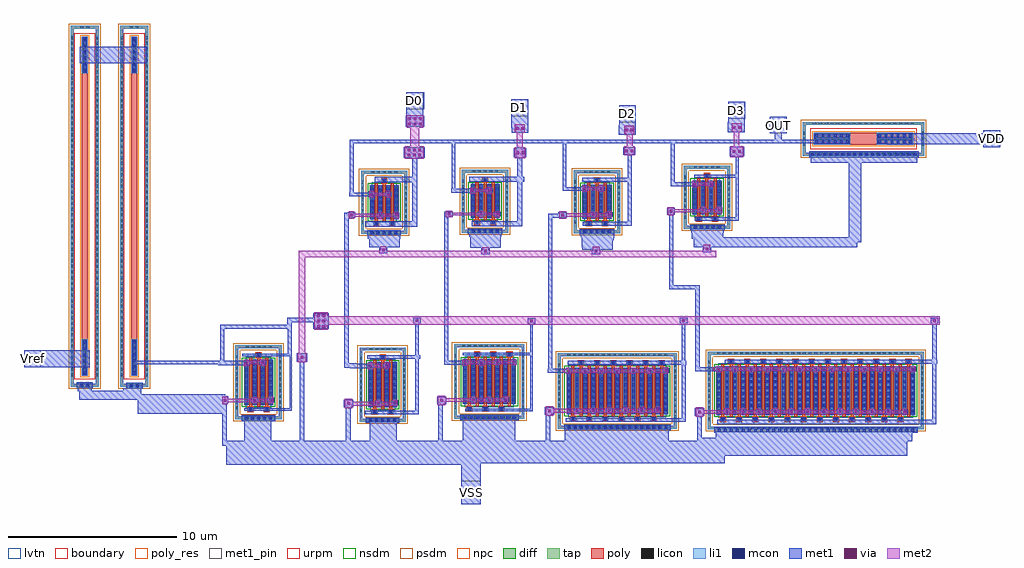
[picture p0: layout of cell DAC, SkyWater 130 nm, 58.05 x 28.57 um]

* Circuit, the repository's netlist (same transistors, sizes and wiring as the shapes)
** sch_path: /home/ttuser/tt10-DAC-main/xschem/DAC.sch
.subckt DAC D3 D2 D0 D1 Vref OUT VDD VSS
*.PININFO D0:I D1:I D2:I D3:I Vref:B OUT:O VDD:B VSS:B
XR3 net5 Vref VSS sky130_fd_pr__res_xhigh_po_0p35 L=16 mult=1 m=1
XR4 G net5 VSS sky130_fd_pr__res_xhigh_po_0p35 L=16 mult=1 m=1
XR5 VDD OUT VSS sky130_fd_pr__res_xhigh_po_0p69 L=1.75 mult=1 m=1
XM6 OUT D0 net4 VSS sky130_fd_pr__nfet_01v8_lvt L=0.18 W=6 nf=3 m=1
XM1 OUT D1 net1 VSS sky130_fd_pr__nfet_01v8_lvt L=0.18 W=6 nf=3 m=1
XM2 OUT D2 net2 VSS sky130_fd_pr__nfet_01v8_lvt L=0.18 W=6 nf=3 m=1
XM3 OUT D3 net3 VSS sky130_fd_pr__nfet_01v8_lvt L=0.18 W=6 nf=3 m=1
XM4 G G VSS VSS sky130_fd_pr__nfet_01v8_lvt L=0.18 W=8 nf=3 m=1
XM5 net4 G VSS VSS sky130_fd_pr__nfet_01v8_lvt L=0.18 W=8 nf=3 m=1
XM7 net1 G VSS VSS sky130_fd_pr__nfet_01v8_lvt L=0.18 W=16 nf=6 m=1
XM8 net2 G VSS VSS sky130_fd_pr__nfet_01v8_lvt L=0.18 W=33 nf=12 m=1
XM9 net3 G VSS VSS sky130_fd_pr__nfet_01v8_lvt L=0.18 W=69 nf=24 m=1
.ends
.end

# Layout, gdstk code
from math import pi, radians
import gdstk
lib = gdstk.Library(unit=1e-6, precision=1e-09)
def R(c, l, rs):  # rectangles x0, y0, x1, y1
    for r in rs: c.add(gdstk.rectangle(r[:2], r[2:], *l))
def A(c, l, x, y, w, h, nx, ny, dx, dy):  # array of equal rectangles
    R(c, l, [(x+i*dx, y+j*dy, x+i*dx+w, y+j*dy+h) for i in range(nx) for j in range(ny)])
diff = (65, 20)
tap = (65, 44)
poly_res = (66, 13)
poly = (66, 20)
licon = (66, 44)
li1 = (67, 20)
mcon = (67, 44)
met1_pin = (68, 16)
met1 = (68, 20)
via = (68, 44)
met2 = (69, 20)
urpm = (79, 20)
nsdm = (93, 44)
psdm = (94, 20)
npc = (95, 20)
lvtn = (125, 44)
boundary = (235, 4)

sky130_fd_pr__nfet_01v8_ = lib.new_cell('sky130_fd_pr__nfet_01v8_lvt_HFZZWY')
R(sky130_fd_pr__nfet_01v8_, diff, [(-0.865,-1.335,0.865,1.335)])
R(sky130_fd_pr__nfet_01v8_, tap, [(-1.375,-2.205,1.375,-2.035), (-1.375,-2.035,-1.205,2.035), (1.205,-2.035,1.375,2.035), (-1.375,2.035,1.375,2.205)])
R(sky130_fd_pr__nfet_01v8_, poly, [(-0.645,-1.775,-0.315,-1.445), (0.315,-1.775,0.645,-1.445), (-0.09,-1.465,0.09,1.445), (-0.57,-1.445,-0.39,1.465), (0.39,-1.445,0.57,1.465), (-0.165,1.445,0.165,1.775)])
A(sky130_fd_pr__nfet_01v8_, licon, -0.765, -2.205, 0.17, 0.17, 5, 2, 0.34, 4.24)
A(sky130_fd_pr__nfet_01v8_, licon, -1.375, -1.615, 0.17, 0.17, 1, 10, 0, 0.34)
A(sky130_fd_pr__nfet_01v8_, licon, 1.205, -1.615, 0.17, 0.17, 1, 10, 0, 0.34)
A(sky130_fd_pr__nfet_01v8_, licon, -0.805, -1.275, 0.17, 0.17, 4, 8, 0.48, 0.34)
R(sky130_fd_pr__nfet_01v8_, licon, [(-0.565,-1.695,-0.395,-1.525), (0.395,-1.695,0.565,-1.525), (-0.085,1.525,0.085,1.695)])
A(sky130_fd_pr__nfet_01v8_, li1, -0.805, -1.355, 0.17, 2.71, 4, 1, 0.48, 0)
R(sky130_fd_pr__nfet_01v8_, li1, [(-1.375,-2.205,1.375,-2.035), (-1.375,-2.035,-1.205,2.035), (1.205,-2.035,1.375,2.035), (-0.645,-1.695,-0.315,-1.525), (0.315,-1.695,0.645,-1.525), (-0.165,1.525,0.165,1.695), (-1.375,2.035,1.375,2.205)])
A(sky130_fd_pr__nfet_01v8_, mcon, -0.805, -1.165, 0.17, 0.17, 4, 7, 0.48, 0.36)
R(sky130_fd_pr__nfet_01v8_, mcon, [(-0.565,-1.695,-0.395,-1.525), (0.395,-1.695,0.565,-1.525), (-0.085,1.525,0.085,1.695)])
A(sky130_fd_pr__nfet_01v8_, met1, -0.835, -1.335, 0.23, 2.67, 4, 1, 0.48, 0)
R(sky130_fd_pr__nfet_01v8_, met1, [(-0.625,-1.725,-0.335,-1.495), (0.335,-1.725,0.625,-1.495), (-0.145,1.495,0.145,1.725)])
R(sky130_fd_pr__nfet_01v8_, nsdm, [(-0.99,-1.46,0.99,1.46)])
R(sky130_fd_pr__nfet_01v8_, psdm, [(-1.5,-2.33,1.5,-1.91), (-1.5,-1.91,-1.08,1.91), (1.08,-1.91,1.5,1.91), (-1.5,1.91,1.5,2.33)])
R(sky130_fd_pr__nfet_01v8_, npc, [(-0.665,-1.795,-0.295,-1.425), (0.295,-1.795,0.665,-1.425), (-0.185,1.425,0.185,1.795)])
R(sky130_fd_pr__nfet_01v8_, lvtn, [(-0.75,-1.515,0.75,1.515)])
R(sky130_fd_pr__nfet_01v8_, boundary, [(-1.29,-2.12,1.29,2.12)])

sky130_fd_pr__res_xhigh_ = lib.new_cell('sky130_fd_pr__res_xhigh_po_0p35_48NHYL')
R(sky130_fd_pr__res_xhigh_, tap, [(-0.825,-10.73,0.825,-10.56), (-0.825,-10.56,-0.655,10.56), (0.655,-10.56,0.825,10.56), (-0.825,10.56,0.825,10.73)])
R(sky130_fd_pr__res_xhigh_, poly_res, [(-0.175,-8,0.175,8)])
R(sky130_fd_pr__res_xhigh_, poly, [(-0.175,-10.08,0.175,10.08)])
A(sky130_fd_pr__res_xhigh_, licon, -0.825, -10.115, 0.17, 0.17, 1, 60, 0, 0.34)
A(sky130_fd_pr__res_xhigh_, licon, 0.655, -10.115, 0.17, 0.17, 1, 60, 0, 0.34)
R(sky130_fd_pr__res_xhigh_, licon, [(-0.255,-10.73,-0.085,-10.56), (0.085,-10.73,0.255,-10.56), (-0.095,-10,0.095,-8), (-0.095,8,0.095,10), (-0.255,10.56,-0.085,10.73), (0.085,10.56,0.255,10.73)])
R(sky130_fd_pr__res_xhigh_, li1, [(-0.825,-10.73,0.825,-10.56), (-0.825,-10.56,-0.655,10.56), (0.655,-10.56,0.825,10.56), (-0.175,-10.08,0.175,-7.92), (-0.175,7.92,0.175,10.08), (-0.825,10.56,0.825,10.73)])
A(sky130_fd_pr__res_xhigh_, mcon, -0.085, -9.985, 0.17, 0.17, 1, 6, 0, 0.36)
A(sky130_fd_pr__res_xhigh_, mcon, -0.085, 8.01, 0.17, 0.17, 1, 6, 0, 0.36)
R(sky130_fd_pr__res_xhigh_, met1, [(-0.125,-10.05,0.125,-7.945), (-0.125,7.945,0.125,10.05)])
R(sky130_fd_pr__res_xhigh_, urpm, [(-0.635,-10.28,0.635,10.28)])
R(sky130_fd_pr__res_xhigh_, psdm, [(-0.95,-10.855,0.95,10.855)])
R(sky130_fd_pr__res_xhigh_, npc, [(-0.27,-10.175,0.27,10.175)])
R(sky130_fd_pr__res_xhigh_, boundary, [(-0.74,-10.645,0.74,10.645)])

c_sky130_fd_pr__nfet_01v8_ = lib.new_cell('sky130_fd_pr__nfet_01v8_lvt_HMT3AU')
R(c_sky130_fd_pr__nfet_01v8_, diff, [(-0.865,-1,0.865,1)])
R(c_sky130_fd_pr__nfet_01v8_, tap, [(-1.375,-1.87,1.375,-1.7), (-1.375,-1.7,-1.205,1.7), (1.205,-1.7,1.375,1.7), (-1.375,1.7,1.375,1.87)])
R(c_sky130_fd_pr__nfet_01v8_, poly, [(-0.645,-1.44,-0.315,-1.11), (0.315,-1.44,0.645,-1.11), (-0.09,-1.13,0.09,1.11), (-0.57,-1.11,-0.39,1.13), (0.39,-1.11,0.57,1.13), (-0.165,1.11,0.165,1.44)])
A(c_sky130_fd_pr__nfet_01v8_, licon, -0.765, -1.87, 0.17, 0.17, 5, 2, 0.34, 3.57)
A(c_sky130_fd_pr__nfet_01v8_, licon, -1.375, -1.275, 0.17, 0.17, 1, 8, 0, 0.34)
A(c_sky130_fd_pr__nfet_01v8_, licon, 1.205, -1.275, 0.17, 0.17, 1, 8, 0, 0.34)
A(c_sky130_fd_pr__nfet_01v8_, licon, -0.805, -0.935, 0.17, 0.17, 4, 6, 0.48, 0.34)
R(c_sky130_fd_pr__nfet_01v8_, licon, [(-0.565,-1.36,-0.395,-1.19), (0.395,-1.36,0.565,-1.19), (-0.085,1.19,0.085,1.36)])
A(c_sky130_fd_pr__nfet_01v8_, li1, -0.805, -1.02, 0.17, 2.04, 4, 1, 0.48, 0)
R(c_sky130_fd_pr__nfet_01v8_, li1, [(-1.375,-1.87,1.375,-1.7), (-1.375,-1.7,-1.205,1.7), (1.205,-1.7,1.375,1.7), (-0.645,-1.36,-0.315,-1.19), (0.315,-1.36,0.645,-1.19), (-0.165,1.19,0.165,1.36), (-1.375,1.7,1.375,1.87)])
A(c_sky130_fd_pr__nfet_01v8_, mcon, -0.805, -0.805, 0.17, 0.17, 4, 5, 0.48, 0.36)
R(c_sky130_fd_pr__nfet_01v8_, mcon, [(-0.565,-1.36,-0.395,-1.19), (0.395,-1.36,0.565,-1.19), (-0.085,1.19,0.085,1.36)])
A(c_sky130_fd_pr__nfet_01v8_, met1, -0.835, -1, 0.23, 2, 4, 1, 0.48, 0)
R(c_sky130_fd_pr__nfet_01v8_, met1, [(-0.625,-1.39,-0.335,-1.16), (0.335,-1.39,0.625,-1.16), (-0.145,1.16,0.145,1.39)])
R(c_sky130_fd_pr__nfet_01v8_, nsdm, [(-0.99,-1.125,0.99,1.125)])
R(c_sky130_fd_pr__nfet_01v8_, psdm, [(-1.5,-1.995,1.5,-1.575), (-1.5,-1.575,-1.08,1.575), (1.08,-1.575,1.5,1.575), (-1.5,1.575,1.5,1.995)])
R(c_sky130_fd_pr__nfet_01v8_, npc, [(-0.665,-1.46,-0.295,-1.09), (0.295,-1.46,0.665,-1.09), (-0.185,1.09,0.185,1.46)])
R(c_sky130_fd_pr__nfet_01v8_, lvtn, [(-0.75,-1.18,0.75,1.18)])
R(c_sky130_fd_pr__nfet_01v8_, boundary, [(-1.29,-1.785,1.29,1.785)])

c_sky130_fd_pr__nfet_01v8__ = lib.new_cell('sky130_fd_pr__nfet_01v8_lvt_EEV8MN')
R(c_sky130_fd_pr__nfet_01v8__, diff, [(-1.585,-1.335,1.585,1.335)])
R(c_sky130_fd_pr__nfet_01v8__, tap, [(-2.095,-2.205,2.095,-2.035), (-2.095,-2.035,-1.925,2.035), (1.925,-2.035,2.095,2.035), (-2.095,2.035,2.095,2.205)])
A(c_sky130_fd_pr__nfet_01v8__, poly, -1.365, -1.775, 0.33, 0.33, 3, 1, 0.96, 0)
A(c_sky130_fd_pr__nfet_01v8__, poly, -0.81, -1.465, 0.18, 2.91, 3, 1, 0.96, 0)
A(c_sky130_fd_pr__nfet_01v8__, poly, -1.29, -1.445, 0.18, 2.91, 3, 1, 0.96, 0)
A(c_sky130_fd_pr__nfet_01v8__, poly, -0.885, 1.445, 0.33, 0.33, 3, 1, 0.96, 0)
A(c_sky130_fd_pr__nfet_01v8__, licon, -1.615, -2.205, 0.17, 0.17, 10, 2, 0.34, 4.24)
A(c_sky130_fd_pr__nfet_01v8__, licon, -1.285, -1.695, 0.17, 0.17, 3, 1, 0.96, 0)
A(c_sky130_fd_pr__nfet_01v8__, licon, -2.095, -1.615, 0.17, 0.17, 1, 10, 0, 0.34)
A(c_sky130_fd_pr__nfet_01v8__, licon, 1.925, -1.615, 0.17, 0.17, 1, 10, 0, 0.34)
A(c_sky130_fd_pr__nfet_01v8__, licon, -1.525, -1.275, 0.17, 0.17, 7, 8, 0.48, 0.34)
A(c_sky130_fd_pr__nfet_01v8__, licon, -0.805, 1.525, 0.17, 0.17, 3, 1, 0.96, 0)
A(c_sky130_fd_pr__nfet_01v8__, li1, -1.365, -1.695, 0.33, 0.17, 3, 1, 0.96, 0)
A(c_sky130_fd_pr__nfet_01v8__, li1, -1.525, -1.355, 0.17, 2.71, 7, 1, 0.48, 0)
A(c_sky130_fd_pr__nfet_01v8__, li1, -0.885, 1.525, 0.33, 0.17, 3, 1, 0.96, 0)
R(c_sky130_fd_pr__nfet_01v8__, li1, [(-2.095,-2.205,2.095,-2.035), (-2.095,-2.035,-1.925,2.035), (1.925,-2.035,2.095,2.035), (-2.095,2.035,2.095,2.205)])
A(c_sky130_fd_pr__nfet_01v8__, mcon, -1.285, -1.695, 0.17, 0.17, 3, 1, 0.96, 0)
A(c_sky130_fd_pr__nfet_01v8__, mcon, -1.525, -1.165, 0.17, 0.17, 7, 7, 0.48, 0.36)
A(c_sky130_fd_pr__nfet_01v8__, mcon, -0.805, 1.525, 0.17, 0.17, 3, 1, 0.96, 0)
A(c_sky130_fd_pr__nfet_01v8__, met1, -1.345, -1.725, 0.29, 0.23, 3, 1, 0.96, 0)
A(c_sky130_fd_pr__nfet_01v8__, met1, -1.555, -1.335, 0.23, 2.67, 7, 1, 0.48, 0)
A(c_sky130_fd_pr__nfet_01v8__, met1, -0.865, 1.495, 0.29, 0.23, 3, 1, 0.96, 0)
R(c_sky130_fd_pr__nfet_01v8__, nsdm, [(-1.71,-1.46,1.71,1.46)])
R(c_sky130_fd_pr__nfet_01v8__, psdm, [(-2.22,-2.33,2.22,-1.91), (-2.22,-1.91,-1.8,1.91), (1.8,-1.91,2.22,1.91), (-2.22,1.91,2.22,2.33)])
A(c_sky130_fd_pr__nfet_01v8__, npc, -1.385, -1.795, 0.37, 0.37, 3, 1, 0.96, 0)
A(c_sky130_fd_pr__nfet_01v8__, npc, -0.905, 1.425, 0.37, 0.37, 3, 1, 0.96, 0)
R(c_sky130_fd_pr__nfet_01v8__, lvtn, [(-1.47,-1.515,1.47,1.515)])
R(c_sky130_fd_pr__nfet_01v8__, boundary, [(-2.01,-2.12,2.01,2.12)])

c_sky130_fd_pr__nfet_01v8___ = lib.new_cell('sky130_fd_pr__nfet_01v8_lvt_34GFY5')
R(c_sky130_fd_pr__nfet_01v8___, diff, [(-3.025,-1.375,3.025,1.375)])
R(c_sky130_fd_pr__nfet_01v8___, tap, [(-3.535,-2.245,3.535,-2.075), (-3.535,-2.075,-3.365,2.075), (3.365,-2.075,3.535,2.075), (-3.535,2.075,3.535,2.245)])
A(c_sky130_fd_pr__nfet_01v8___, poly, -2.805, -1.815, 0.33, 0.33, 6, 1, 0.96, 0)
A(c_sky130_fd_pr__nfet_01v8___, poly, -2.25, -1.505, 0.18, 2.99, 6, 1, 0.96, 0)
A(c_sky130_fd_pr__nfet_01v8___, poly, -2.73, -1.485, 0.18, 2.99, 6, 1, 0.96, 0)
A(c_sky130_fd_pr__nfet_01v8___, poly, -2.325, 1.485, 0.33, 0.33, 6, 1, 0.96, 0)
A(c_sky130_fd_pr__nfet_01v8___, licon, -2.975, -2.245, 0.17, 0.17, 18, 2, 0.34, 4.32)
A(c_sky130_fd_pr__nfet_01v8___, licon, -2.725, -1.735, 0.17, 0.17, 6, 1, 0.96, 0)
A(c_sky130_fd_pr__nfet_01v8___, licon, -3.535, -1.615, 0.17, 0.17, 1, 10, 0, 0.34)
A(c_sky130_fd_pr__nfet_01v8___, licon, 3.365, -1.615, 0.17, 0.17, 1, 10, 0, 0.34)
A(c_sky130_fd_pr__nfet_01v8___, licon, -2.965, -1.275, 0.17, 0.17, 13, 8, 0.48, 0.34)
A(c_sky130_fd_pr__nfet_01v8___, licon, -2.245, 1.565, 0.17, 0.17, 6, 1, 0.96, 0)
A(c_sky130_fd_pr__nfet_01v8___, li1, -2.805, -1.735, 0.33, 0.17, 6, 1, 0.96, 0)
A(c_sky130_fd_pr__nfet_01v8___, li1, -2.965, -1.395, 0.17, 2.79, 13, 1, 0.48, 0)
A(c_sky130_fd_pr__nfet_01v8___, li1, -2.325, 1.565, 0.33, 0.17, 6, 1, 0.96, 0)
R(c_sky130_fd_pr__nfet_01v8___, li1, [(-3.535,-2.245,3.535,-2.075), (-3.535,-2.075,-3.365,2.075), (3.365,-2.075,3.535,2.075), (-3.535,2.075,3.535,2.245)])
A(c_sky130_fd_pr__nfet_01v8___, mcon, -2.725, -1.735, 0.17, 0.17, 6, 1, 0.96, 0)
A(c_sky130_fd_pr__nfet_01v8___, mcon, -2.965, -1.165, 0.17, 0.17, 13, 7, 0.48, 0.36)
A(c_sky130_fd_pr__nfet_01v8___, mcon, -2.245, 1.565, 0.17, 0.17, 6, 1, 0.96, 0)
A(c_sky130_fd_pr__nfet_01v8___, met1, -2.785, -1.765, 0.29, 0.23, 6, 1, 0.96, 0)
A(c_sky130_fd_pr__nfet_01v8___, met1, -2.995, -1.375, 0.23, 2.75, 13, 1, 0.48, 0)
A(c_sky130_fd_pr__nfet_01v8___, met1, -2.305, 1.535, 0.29, 0.23, 6, 1, 0.96, 0)
R(c_sky130_fd_pr__nfet_01v8___, nsdm, [(-3.15,-1.5,3.15,1.5)])
R(c_sky130_fd_pr__nfet_01v8___, psdm, [(-3.66,-2.37,3.66,-1.95), (-3.66,-1.95,-3.24,1.95), (3.24,-1.95,3.66,1.95), (-3.66,1.95,3.66,2.37)])
A(c_sky130_fd_pr__nfet_01v8___, npc, -2.825, -1.835, 0.37, 0.37, 6, 1, 0.96, 0)
A(c_sky130_fd_pr__nfet_01v8___, npc, -2.345, 1.465, 0.37, 0.37, 6, 1, 0.96, 0)
R(c_sky130_fd_pr__nfet_01v8___, lvtn, [(-2.91,-1.555,2.91,1.555)])
R(c_sky130_fd_pr__nfet_01v8___, boundary, [(-3.45,-2.16,3.45,2.16)])

c_sky130_fd_pr__nfet_01v8____ = lib.new_cell('sky130_fd_pr__nfet_01v8_lvt_GYBLDK')
R(c_sky130_fd_pr__nfet_01v8____, diff, [(-5.905,-1.44,5.905,1.44)])
R(c_sky130_fd_pr__nfet_01v8____, tap, [(-6.415,-2.31,6.415,-2.14), (-6.415,-2.14,-6.245,2.14), (6.245,-2.14,6.415,2.14), (-6.415,2.14,6.415,2.31)])
A(c_sky130_fd_pr__nfet_01v8____, poly, -5.685, -1.88, 0.33, 0.33, 12, 1, 0.96, 0)
A(c_sky130_fd_pr__nfet_01v8____, poly, -5.13, -1.57, 0.18, 3.12, 12, 1, 0.96, 0)
A(c_sky130_fd_pr__nfet_01v8____, poly, -5.61, -1.55, 0.18, 3.12, 12, 1, 0.96, 0)
A(c_sky130_fd_pr__nfet_01v8____, poly, -5.205, 1.55, 0.33, 0.33, 12, 1, 0.96, 0)
A(c_sky130_fd_pr__nfet_01v8____, licon, -5.865, -2.31, 0.17, 0.17, 35, 2, 0.34, 4.45)
A(c_sky130_fd_pr__nfet_01v8____, licon, -5.605, -1.8, 0.17, 0.17, 12, 1, 0.96, 0)
A(c_sky130_fd_pr__nfet_01v8____, licon, -6.415, -1.785, 0.17, 0.17, 1, 11, 0, 0.34)
A(c_sky130_fd_pr__nfet_01v8____, licon, 6.245, -1.785, 0.17, 0.17, 1, 11, 0, 0.34)
A(c_sky130_fd_pr__nfet_01v8____, licon, -5.845, -1.275, 0.17, 0.17, 25, 8, 0.48, 0.34)
A(c_sky130_fd_pr__nfet_01v8____, licon, -5.125, 1.63, 0.17, 0.17, 12, 1, 0.96, 0)
A(c_sky130_fd_pr__nfet_01v8____, li1, -5.685, -1.8, 0.33, 0.17, 12, 1, 0.96, 0)
A(c_sky130_fd_pr__nfet_01v8____, li1, -5.845, -1.46, 0.17, 2.92, 25, 1, 0.48, 0)
A(c_sky130_fd_pr__nfet_01v8____, li1, -5.205, 1.63, 0.33, 0.17, 12, 1, 0.96, 0)
R(c_sky130_fd_pr__nfet_01v8____, li1, [(-6.415,-2.31,6.415,-2.14), (-6.415,-2.14,-6.245,2.14), (6.245,-2.14,6.415,2.14), (-6.415,2.14,6.415,2.31)])
A(c_sky130_fd_pr__nfet_01v8____, mcon, -5.605, -1.8, 0.17, 0.17, 12, 1, 0.96, 0)
A(c_sky130_fd_pr__nfet_01v8____, mcon, -5.845, -1.345, 0.17, 0.17, 25, 8, 0.48, 0.36)
A(c_sky130_fd_pr__nfet_01v8____, mcon, -5.125, 1.63, 0.17, 0.17, 12, 1, 0.96, 0)
A(c_sky130_fd_pr__nfet_01v8____, met1, -5.665, -1.83, 0.29, 0.23, 12, 1, 0.96, 0)
A(c_sky130_fd_pr__nfet_01v8____, met1, -5.875, -1.44, 0.23, 2.88, 25, 1, 0.48, 0)
A(c_sky130_fd_pr__nfet_01v8____, met1, -5.185, 1.6, 0.29, 0.23, 12, 1, 0.96, 0)
R(c_sky130_fd_pr__nfet_01v8____, nsdm, [(-6.03,-1.565,6.03,1.565)])
R(c_sky130_fd_pr__nfet_01v8____, psdm, [(-6.54,-2.435,6.54,-2.015), (-6.54,-2.015,-6.12,2.015), (6.12,-2.015,6.54,2.015), (-6.54,2.015,6.54,2.435)])
A(c_sky130_fd_pr__nfet_01v8____, npc, -5.705, -1.9, 0.37, 0.37, 12, 1, 0.96, 0)
A(c_sky130_fd_pr__nfet_01v8____, npc, -5.225, 1.53, 0.37, 0.37, 12, 1, 0.96, 0)
R(c_sky130_fd_pr__nfet_01v8____, lvtn, [(-5.79,-1.62,5.79,1.62)])
R(c_sky130_fd_pr__nfet_01v8____, boundary, [(-6.33,-2.225,6.33,2.225)])

c_sky130_fd_pr__res_xhigh_ = lib.new_cell('sky130_fd_pr__res_xhigh_po_0p69_NP4GWP')
R(c_sky130_fd_pr__res_xhigh_, tap, [(-0.995,-3.605,0.995,-3.435), (-0.995,-3.435,-0.825,3.435), (0.825,-3.435,0.995,3.435), (-0.995,3.435,0.995,3.605)])
R(c_sky130_fd_pr__res_xhigh_, poly_res, [(-0.345,-0.875,0.345,0.875)])
R(c_sky130_fd_pr__res_xhigh_, poly, [(-0.345,-2.955,0.345,2.955)])
A(c_sky130_fd_pr__res_xhigh_, licon, -0.425, -3.605, 0.17, 0.17, 3, 2, 0.34, 7.04)
A(c_sky130_fd_pr__res_xhigh_, licon, -0.995, -2.975, 0.17, 0.17, 1, 18, 0, 0.34)
A(c_sky130_fd_pr__res_xhigh_, licon, 0.825, -2.975, 0.17, 0.17, 1, 18, 0, 0.34)
R(c_sky130_fd_pr__res_xhigh_, licon, [(-0.095,-2.875,0.095,-0.875), (-0.095,0.875,0.095,2.875)])
R(c_sky130_fd_pr__res_xhigh_, li1, [(-0.995,-3.605,0.995,-3.435), (-0.995,-3.435,-0.825,3.435), (0.825,-3.435,0.995,3.435), (-0.345,-2.955,0.345,-0.795), (-0.345,0.795,0.345,2.955), (-0.995,3.435,0.995,3.605)])
A(c_sky130_fd_pr__res_xhigh_, mcon, -0.265, -2.86, 0.17, 0.17, 1, 6, 0, 0.36)
A(c_sky130_fd_pr__res_xhigh_, mcon, 0.095, -2.86, 0.17, 0.17, 1, 6, 0, 0.36)
A(c_sky130_fd_pr__res_xhigh_, mcon, -0.265, 0.885, 0.17, 0.17, 1, 6, 0, 0.36)
A(c_sky130_fd_pr__res_xhigh_, mcon, 0.095, 0.885, 0.17, 0.17, 1, 6, 0, 0.36)
R(c_sky130_fd_pr__res_xhigh_, met1, [(-0.295,-2.925,0.295,-0.82), (-0.295,0.82,0.295,2.925)])
R(c_sky130_fd_pr__res_xhigh_, urpm, [(-0.635,-3.155,0.635,3.155)])
R(c_sky130_fd_pr__res_xhigh_, psdm, [(-1.12,-3.73,1.12,3.73)])
R(c_sky130_fd_pr__res_xhigh_, npc, [(-0.44,-3.05,0.44,3.05)])
R(c_sky130_fd_pr__res_xhigh_, boundary, [(-0.91,-3.52,0.91,3.52)])

dac = lib.new_cell('DAC')
R(dac, li1, [(28.8,-8.6,40.8,-8.33), (19.89,-8.43,26.1,-8.17), (8.08,-8.01,9.95,-7.75), (0.69,-7.9,2.58,-7.61), (13.71,-7.84,17.07,-7.58), (-6.16,-5.96,-5.32,-5.67), (-9.12,-5.95,-8.28,-5.66), (8.16,3.15,10.04,3.4), (20.82,3.22,22.73,3.45), (14.16,3.25,16.07,3.48), (27.39,3.48,29.3,3.71), (34.45,7.77,40.84,8.09)])
A(dac, mcon, 28.955, -8.55, 0.17, 0.17, 33, 1, 0.36, 0)
A(dac, mcon, 20.03, -8.385, 0.17, 0.17, 17, 1, 0.36, 0)
A(dac, mcon, 8.21, -7.965, 0.17, 0.17, 5, 1, 0.36, 0)
A(dac, mcon, 0.83, -7.84, 0.17, 0.17, 5, 1, 0.36, 0)
A(dac, mcon, 13.865, -7.795, 0.17, 0.17, 9, 1, 0.36, 0)
A(dac, mcon, 8.295, 3.19, 0.17, 0.17, 5, 1, 0.36, 0)
A(dac, mcon, 20.97, 3.25, 0.17, 0.17, 5, 1, 0.36, 0)
A(dac, mcon, 14.31, 3.28, 0.17, 0.17, 5, 1, 0.36, 0)
A(dac, mcon, 27.54, 3.51, 0.17, 0.17, 5, 1, 0.36, 0)
A(dac, mcon, 34.5, 7.845, 0.17, 0.17, 18, 1, 0.36, 0)
R(dac, mcon, [(-6.005,-5.9,-5.835,-5.73), (-5.645,-5.9,-5.475,-5.73), (-8.965,-5.89,-8.795,-5.72), (-8.605,-5.89,-8.435,-5.72)])
R(dac, met1_pin, [(13.71,-12.87,14.85,-11.49), (-12.31,-4.71,-11.31,-3.71), (44.745,8.375,45.745,9.375), (32.06,9.18,33.06,10.18), (23.09,9.86,24.09,10.86), (29.57,10.06,30.57,11.06), (16.67,10.22,17.67,11.22), (10.44,10.62,11.44,11.62)])
A(dac, met1, 33.63, -4.97, 0.4, 0.27, 4, 1, 0.96, 0)
A(dac, met1, 37.46, -4.97, 0.4, 0.27, 3, 1, 0.96, 0)
R(dac, met1, [(13.71,-12.87,14.85,-10.51), (-0.27,-10.51,14.85,-10.42), (-0.27,-10.42,29.37,-9.98), (-0.27,-9.98,40.23,-9.38), (-0.53,-9.38,40.23,-9.12), (-0.53,-9.12,40.52,-9.1), (-0.53,-9.1,-0.25,-7.5), (0.79,-9.1,2.39,-7.93), (4.08,-9.1,4.36,-4.39), (6.84,-9.1,7.12,-7.11), (8.26,-9.1,9.86,-8.04), (12.33,-9.1,12.61,-6.92), (13.8,-9.1,16.92,-7.87), (18.72,-9.1,19,-7.55), (19.87,-9.1,26.04,-8.46), (27.73,-9.1,40.52,-8.92), (27.73,-8.92,28.01,-7.61), (28.84,-8.92,40.52,-8.63), (28.74,-8.63,40.86,-8.3), (19.83,-8.46,26.16,-8.14), (28.935,-8.105,41.965,-7.855), (8.02,-8.04,10.01,-7.72), (19.9,-7.97,27.04,-7.75), (0.63,-7.93,2.64,-7.58), (13.65,-7.87,17.13,-7.55), (41.715,-7.855,41.965,-4.53), (26.82,-7.75,27.04,-4.57), (27.6,-7.61,28.15,-7.16), (18.67,-7.55,19.22,-7.1), (38.9,-7.52,39.3,-7.25), (7.945,-7.515,11.185,-7.305), (31.22,-7.51,31.62,-7.24), (37.94,-7.51,38.34,-7.24), (39.86,-7.51,40.26,-7.24), (-5.55,-7.5,-0.25,-6.87), (35.07,-7.5,35.47,-7.23), (36.98,-7.5,37.38,-7.23), (32.18,-7.49,32.58,-7.22), (34.11,-7.49,34.51,-7.22), (36.03,-7.49,36.43,-7.22), (29.3,-7.48,29.7,-7.21), (30.26,-7.48,30.66,-7.21), (33.14,-7.48,33.54,-7.21), (20.38,-7.46,20.78,-7.19), (21.35,-7.44,21.75,-7.17), (22.3,-7.42,22.7,-7.15), (23.27,-7.41,23.67,-7.14), (24.23,-7.4,24.63,-7.13), (25.18,-7.39,25.58,-7.12), (13.945,-7.355,17.945,-7.205), (10.975,-7.305,11.185,-4.22), (0.79,-7.3,3.63,-7.16), (17.795,-7.205,17.945,-4.01), (3.49,-7.16,3.63,-4.07), (6.71,-7.11,7.26,-6.66), (8.58,-6.98,8.98,-6.71), (9.55,-6.97,9.95,-6.7), (12.26,-6.92,12.81,-6.47), (-5.55,-6.87,-0.15,-6.67), (1.2,-6.83,1.6,-6.56), (2.17,-6.81,2.57,-6.54), (14.21,-6.81,14.61,-6.54), (15.17,-6.8,15.57,-6.53), (16.14,-6.77,16.54,-6.5), (-9.01,-6.67,-0.15,-6.52), (-9.01,-6.52,-0.175,-6.445), (-9.01,-6.445,-0.35,-6.34), (-9.01,-6.34,-5.34,-6.16), (-9.12,-6.16,-5.34,-6.12), (-9.12,-6.12,-8.28,-5.98), (-6.4,-6.12,-5.34,-5.99), (-6.4,-5.99,-5.26,-5.97), (-9.18,-5.98,-8.22,-5.63), (-6.22,-5.97,-5.26,-5.64), (21.83,-5.08,22.23,-4.81), (19.9,-5.07,20.3,-5.06), (20.87,-5.07,21.27,-4.8), (22.78,-5.07,23.18,-4.8), (18.85,-5.06,20.3,-4.81), (23.74,-5.06,24.14,-4.79), (24.71,-5.06,25.11,-4.79), (25.67,-5.05,26.07,-4.78), (28.82,-4.97,29.22,-4.96), (30.76,-4.97,31.16,-4.7), (31.71,-4.97,32.11,-4.7), (40.35,-4.97,40.75,-4.7), (27.625,-4.96,29.22,-4.71), (29.78,-4.96,30.18,-4.69), (32.67,-4.96,33.07,-4.69), (18.865,-4.81,19.115,4.165), (19.9,-4.81,20.3,-4.8), (8.1,-4.78,8.5,-4.77), (7.08,-4.77,8.5,-4.75), (9.07,-4.77,9.47,-4.5), (6.74,-4.75,8.5,-4.52), (-12.31,-4.71,-8.41,-3.71), (27.625,-4.71,27.875,-0.095), (28.82,-4.71,29.22,-4.7), (0.72,-4.61,1.12,-4.6), (-0.75,-4.6,1.12,-4.56), (13.71,-4.59,14.11,-4.58), (1.69,-4.58,2.09,-4.31), (12.69,-4.58,14.11,-4.33), (14.69,-4.58,15.09,-4.31), (20.02,-4.57,27.08,-4.35), (-5.825,-4.56,1.12,-4.35), (15.65,-4.56,16.05,-4.29), (16.61,-4.56,17.01,-4.29), (29.38,-4.53,42,-4.28), (6.74,-4.52,7.45,-4.49), (8.1,-4.52,8.5,-4.51), (6.74,-4.49,7,4.16), (3.91,-4.39,4.54,-3.9), (-0.635,-4.35,-0.385,-2.445), (0.72,-4.35,1.12,-4.34), (26.81,-4.35,27.03,-2.11), (12.695,-4.33,12.94,4.24), (13.71,-4.33,14.11,-4.32), (41.725,-4.28,41.975,-2.12), (8.12,-4.22,11.25,-4.01), (0.66,-4.07,3.63,-3.93), (10.975,-4.01,11.185,-2.12), (13.78,-4.01,17.95,-3.86), (3.365,-3.93,3.615,-2.455), (17.795,-3.86,17.945,-2.13), (3.355,-2.455,3.615,-2.445), (-0.635,-2.445,3.615,-2.195), (4.91,-2.44,5.81,-2.035), (3.355,-2.195,3.61,-2.035), (17.65,-2.13,18.11,-1.8), (10.84,-2.12,11.3,-1.79), (41.62,-2.12,42.08,-1.79), (26.7,-2.11,27.16,-1.78), (3.355,-2.035,5.81,-1.78), (4.91,-1.78,5.81,-1.51), (26.065,-0.095,27.875,0.155), (26.065,0.155,26.315,4.36), (14.9,1.99,15.38,2.37), (21.47,2,21.98,2.27), (8.82,2.05,9.3,2.4), (28.05,2.12,28.56,2.42), (20.91,2.27,22.71,2.42), (14.24,2.37,16.04,3.03), (8.24,2.4,10.04,2.92), (20.87,2.42,22.71,2.84), (27.52,2.42,37.25,2.705), (27.52,2.705,37.5,2.93), (20.87,2.84,22.76,2.99), (8.15,2.92,10.06,3.12), (27.42,2.93,37.5,2.995), (20.87,2.99,22.81,3.01), (27.42,2.995,29.27,3.28), (36.75,2.995,37.5,7.43), (20.81,3.01,22.81,3.19), (14.16,3.03,16.07,3.22), (8.1,3.12,10.1,3.43), (20.76,3.19,22.81,3.31), (14.1,3.22,16.13,3.51), (27.39,3.28,29.3,3.45), (20.76,3.31,22.79,3.48), (27.33,3.45,29.36,3.74), (7.99,3.63,11.09,3.95), (14.33,3.65,17.34,3.95), (20.92,3.68,23.85,3.92), (23.61,3.92,23.85,6.3), (10.77,3.95,11.09,6.28), (17.04,3.95,17.34,6.31), (27.6,3.99,30.22,4.19), (8.7,4.14,9.06,4.44), (6.74,4.16,7.38,4.46), (19.48,4.16,19.98,4.165), (18.865,4.165,19.98,4.415), (9.66,4.17,10.02,4.47), (30.02,4.19,30.22,6.54), (21.35,4.22,21.75,4.49), (22.3,4.23,22.7,4.5), (12.695,4.24,13.2,4.53), (15.64,4.25,16.04,4.52), (14.68,4.26,15.08,4.53), (25.94,4.36,26.4,4.75), (19.48,4.415,19.98,4.5), (6.95,4.46,7.38,4.51), (27.88,4.49,28.28,4.76), (28.83,4.49,29.23,4.76), (12.73,4.53,13.2,4.54), (8.265,5.24,8.54,5.42), (9.18,5.41,9.54,5.71), (8.19,5.42,8.55,5.45), (7.04,5.45,8.55,5.67), (14.17,5.64,14.57,5.67), (15.16,5.66,15.56,5.93), (7.08,5.67,7.3,8.59), (8.19,5.67,8.55,5.72), (13.1,5.67,14.57,5.88), (20.85,5.76,21.25,5.78), (21.82,5.77,22.22,6.04), (19.74,5.78,21.25,5.99), (13.125,5.88,13.335,8.59), (14.17,5.88,14.57,5.91), (19.74,5.99,19.95,8.59), (20.85,5.99,21.25,6.03), (27.4,6.04,27.8,6.05), (26.17,6.05,27.8,6.28), (28.35,6.05,28.75,6.32), (8.54,6.28,11.09,6.6), (26.17,6.28,26.4,8.59), (27.4,6.28,27.8,6.31), (20.89,6.3,23.85,6.54), (14.17,6.31,17.45,6.61), (23.61,6.54,23.85,7.93), (27.56,6.54,30.22,6.74), (10.77,6.6,11.09,7.73), (17.04,6.61,17.34,7.77), (30.02,6.74,30.22,7.82), (34.49,7.43,40.82,7.74), (10.29,7.73,11.52,8.37), (34.39,7.74,40.9,8.12), (16.83,7.77,17.57,8.3), (29.66,7.82,30.52,8.38), (23.34,7.93,24.06,8.37), (17.04,8.3,17.34,8.37), (44.745,8.375,45.745,8.55), (39.01,8.55,45.745,9.2), (7.08,8.59,35.94,8.81), (32.355,8.81,32.77,9.18), (23.08,9.1,24.08,9.29), (32.06,9.18,33.06,10.18), (44.745,9.2,45.745,9.375), (16.69,9.23,17.69,9.53), (29.56,9.24,30.56,9.48), (23.08,9.29,24.09,9.52), (29.56,9.48,30.57,9.86), (23.07,9.52,24.09,9.68), (16.67,9.53,17.69,9.68), (10.41,9.58,11.49,10.24), (16.67,9.68,17.67,10.22), (23.09,9.68,24.09,10.86), (29.57,9.86,30.57,10.06), (29.57,10.06,30.58,11.06), (16.67,10.22,17.68,11.22), (10.44,10.24,11.44,10.62), (10.44,10.62,11.51,11.62), (-8.985,13.365,-5.015,14.335)])
A(dac, via, 33.755, -4.91, 0.15, 0.15, 4, 1, 0.96, 0)
A(dac, via, 37.585, -4.91, 0.15, 0.15, 3, 1, 0.96, 0)
A(dac, via, 5.125, -2.37, 0.15, 0.15, 1, 3, 0, 0.32)
A(dac, via, 5.445, -2.37, 0.15, 0.15, 1, 3, 0, 0.32)
A(dac, via, 10.51, 7.815, 0.15, 0.15, 3, 2, 0.32, 0.32)
A(dac, via, 10.555, 9.675, 0.15, 0.15, 3, 2, 0.32, 0.32)
R(dac, via, [(27.8,-7.46,27.95,-7.31), (39.025,-7.46,39.175,-7.31), (31.345,-7.45,31.495,-7.3), (38.065,-7.45,38.215,-7.3), (39.985,-7.45,40.135,-7.3), (35.195,-7.44,35.345,-7.29), (37.105,-7.44,37.255,-7.29), (32.305,-7.43,32.455,-7.28), (34.235,-7.43,34.385,-7.28), (36.155,-7.43,36.305,-7.28), (29.425,-7.42,29.575,-7.27), (30.385,-7.42,30.535,-7.27), (33.265,-7.42,33.415,-7.27), (18.87,-7.4,19.02,-7.25), (20.505,-7.4,20.655,-7.25), (21.475,-7.38,21.625,-7.23), (22.425,-7.36,22.575,-7.21), (23.395,-7.35,23.545,-7.2), (24.355,-7.34,24.505,-7.19), (25.305,-7.33,25.455,-7.18), (6.91,-6.96,7.06,-6.81), (8.705,-6.92,8.855,-6.77), (9.675,-6.91,9.825,-6.76), (-0.435,-6.77,-0.285,-6.62), (1.325,-6.77,1.475,-6.62), (12.46,-6.77,12.61,-6.62), (2.295,-6.75,2.445,-6.6), (14.335,-6.75,14.485,-6.6), (15.295,-6.74,15.445,-6.59), (16.265,-6.71,16.415,-6.56), (21.955,-5.02,22.105,-4.87), (20.025,-5.01,20.175,-4.86), (20.995,-5.01,21.145,-4.86), (22.905,-5.01,23.055,-4.86), (23.865,-5,24.015,-4.85), (24.835,-5,24.985,-4.85), (25.795,-4.99,25.945,-4.84), (28.945,-4.91,29.095,-4.76), (30.885,-4.91,31.035,-4.76), (31.835,-4.91,31.985,-4.76), (40.475,-4.91,40.625,-4.76), (29.905,-4.9,30.055,-4.75), (32.795,-4.9,32.945,-4.75), (8.225,-4.72,8.375,-4.57), (9.195,-4.71,9.345,-4.56), (0.845,-4.55,0.995,-4.4), (13.835,-4.53,13.985,-4.38), (1.815,-4.52,1.965,-4.37), (14.815,-4.52,14.965,-4.37), (15.775,-4.5,15.925,-4.35), (16.735,-4.5,16.885,-4.35), (4.15,-4.22,4.3,-4.07), (17.805,-2.04,17.955,-1.89), (10.995,-2.03,11.145,-1.88), (41.775,-2.03,41.925,-1.88), (26.855,-2.02,27.005,-1.87), (15.065,2.105,15.215,2.255), (21.65,2.115,21.8,2.265), (8.985,2.165,9.135,2.315), (28.23,2.235,28.38,2.385), (8.805,4.215,8.955,4.365), (9.765,4.245,9.915,4.395), (19.655,4.255,19.805,4.405), (7.09,4.26,7.24,4.41), (21.475,4.28,21.625,4.43), (22.425,4.29,22.575,4.44), (15.765,4.31,15.915,4.46), (12.89,4.315,13.04,4.465), (14.805,4.32,14.955,4.47), (26.095,4.48,26.245,4.63), (28.005,4.55,28.155,4.7), (28.955,4.55,29.105,4.7), (9.285,5.485,9.435,5.635), (8.295,5.495,8.445,5.645), (14.295,5.7,14.445,5.85), (15.285,5.72,15.435,5.87), (20.975,5.82,21.125,5.97), (21.945,5.83,22.095,5.98), (27.525,6.1,27.675,6.25), (28.475,6.11,28.625,6.26), (16.965,7.96,17.115,8.11), (17.285,7.96,17.435,8.11), (29.855,8.025,30.005,8.175), (30.175,8.025,30.325,8.175), (23.465,8.075,23.615,8.225), (23.785,8.075,23.935,8.225), (23.445,9.305,23.595,9.455), (23.765,9.305,23.915,9.455), (16.955,9.405,17.105,9.555), (17.275,9.405,17.425,9.555), (29.855,9.455,30.005,9.605), (30.175,9.455,30.325,9.605)])
A(dac, met2, 33.68, -5.02, 0.3, 0.08, 4, 2, 0.96, 0.29)
A(dac, met2, 37.51, -5.02, 0.3, 0.08, 3, 2, 0.96, 0.29)
R(dac, met2, [(27.65,-7.66,28.1,-7.48), (18.72,-7.6,19.17,-7.42), (38.95,-7.57,39.25,-7.48), (31.27,-7.56,31.57,-7.48), (37.99,-7.56,38.29,-7.48), (39.91,-7.56,40.21,-7.48), (35.12,-7.55,35.42,-7.48), (37.03,-7.55,37.33,-7.48), (32.23,-7.54,32.53,-7.48), (34.16,-7.54,34.46,-7.48), (36.08,-7.54,36.38,-7.48), (29.35,-7.53,29.65,-7.48), (30.31,-7.53,30.61,-7.48), (33.19,-7.53,33.49,-7.48), (20.43,-7.51,20.73,-7.42), (21.4,-7.49,21.7,-7.42), (27.65,-7.48,40.21,-7.29), (22.35,-7.47,22.65,-7.42), (23.32,-7.46,23.62,-7.42), (24.28,-7.45,24.58,-7.42), (25.23,-7.44,25.53,-7.42), (18.72,-7.42,25.53,-7.18), (27.65,-7.29,28.1,-7.11), (29.35,-7.29,29.65,-7.16), (30.31,-7.29,30.61,-7.16), (31.27,-7.29,31.57,-7.19), (32.23,-7.29,32.53,-7.17), (33.19,-7.29,33.49,-7.16), (34.16,-7.29,34.46,-7.17), (35.12,-7.29,35.42,-7.18), (36.08,-7.29,36.38,-7.17), (37.03,-7.29,37.33,-7.18), (37.99,-7.29,38.29,-7.19), (38.95,-7.29,39.25,-7.2), (39.91,-7.29,40.21,-7.19), (18.72,-7.18,19.17,-7.05), (20.43,-7.18,20.73,-7.14), (21.4,-7.18,21.7,-7.12), (22.35,-7.18,22.65,-7.1), (23.32,-7.18,23.62,-7.09), (24.28,-7.18,24.58,-7.08), (25.23,-7.18,25.53,-7.07), (6.76,-7.16,7.21,-7), (8.63,-7.03,8.93,-7), (9.6,-7.02,9.9,-7), (6.76,-7,9.9,-6.77), (12.31,-6.97,12.76,-6.79), (-0.52,-6.92,-0.2,-6.81), (1.25,-6.88,1.55,-6.81), (2.22,-6.86,2.52,-6.81), (14.26,-6.86,14.56,-6.79), (15.22,-6.85,15.52,-6.79), (16.19,-6.82,16.49,-6.79), (-0.52,-6.81,2.52,-6.59), (12.31,-6.79,16.49,-6.58), (6.76,-6.77,7.21,-6.61), (8.63,-6.77,8.93,-6.66), (9.6,-6.77,9.9,-6.65), (-0.52,-6.59,-0.2,-6.47), (1.25,-6.59,1.55,-6.51), (2.22,-6.59,2.52,-6.49), (12.31,-6.58,12.76,-6.42), (14.26,-6.58,14.56,-6.49), (15.22,-6.58,15.52,-6.48), (16.19,-6.58,16.49,-6.45), (21.88,-5.13,22.18,-5.04), (19.95,-5.12,20.25,-5.04), (20.92,-5.12,21.22,-5.04), (22.83,-5.12,23.13,-5.04), (23.79,-5.11,24.09,-5.04), (24.76,-5.11,25.06,-5.04), (25.72,-5.1,26.02,-5.04), (19.81,-5.04,26.02,-4.83), (28.87,-5.02,29.17,-4.94), (30.81,-5.02,31.11,-4.94), (31.76,-5.02,32.06,-4.94), (40.4,-5.02,40.7,-4.94), (29.83,-5.01,30.13,-4.94), (32.72,-5.01,33.02,-4.94), (28.7,-4.94,40.7,-4.73), (8.15,-4.83,8.45,-4.76), (19.95,-4.83,20.25,-4.75), (20.92,-4.83,21.22,-4.75), (21.88,-4.83,22.18,-4.76), (22.83,-4.83,23.13,-4.75), (23.79,-4.83,24.09,-4.74), (24.76,-4.83,25.06,-4.74), (25.72,-4.83,26.02,-4.73), (9.12,-4.82,9.42,-4.76), (8.15,-4.76,9.42,-4.53), (28.87,-4.73,29.17,-4.65), (29.83,-4.73,30.13,-4.64), (30.81,-4.73,31.11,-4.65), (31.76,-4.73,32.06,-4.65), (32.72,-4.73,33.02,-4.64), (40.4,-4.73,40.7,-4.65), (0.77,-4.66,1.07,-4.55), (13.76,-4.64,14.06,-4.56), (1.74,-4.63,2.04,-4.55), (14.74,-4.63,15.04,-4.56), (15.7,-4.61,16,-4.56), (16.66,-4.61,16.96,-4.56), (13.76,-4.56,16.96,-4.33), (0.77,-4.55,2.04,-4.34), (8.15,-4.53,8.45,-4.46), (9.12,-4.53,9.42,-4.45), (3.96,-4.44,4.49,-3.85), (0.77,-4.34,1.07,-4.29), (1.74,-4.34,2.04,-4.26), (13.76,-4.33,14.06,-4.27), (14.74,-4.33,15.04,-4.26), (15.7,-4.33,16,-4.24), (16.66,-4.33,16.96,-4.24), (4.04,-3.85,4.42,1.82), (4.96,-2.49,5.76,-2.21), (4.96,-2.21,42.15,-1.68), (4.96,-1.68,5.76,-1.46), (4.04,1.82,28.86,2.2), (4.04,2.2,4.42,2.21), (8.87,2.2,9.25,2.48), (14.95,2.2,15.33,2.42), (21.52,2.2,21.93,2.43), (28.1,2.2,28.51,2.55), (8.75,4.09,9.01,4.23), (7,4.11,7.33,4.23), (19.53,4.11,19.93,4.23), (9.71,4.12,9.97,4.23), (21.4,4.17,21.7,4.23), (22.35,4.18,22.65,4.23), (12.78,4.19,13.15,4.32), (15.69,4.2,15.99,4.32), (14.73,4.21,15.03,4.32), (7,4.23,9.97,4.4), (19.53,4.23,22.65,4.44), (25.99,4.31,26.35,4.5), (12.78,4.32,15.99,4.47), (7,4.4,7.33,4.56), (8.75,4.4,9.01,4.49), (9.71,4.4,9.97,4.52), (19.53,4.44,19.93,4.55), (21.4,4.44,21.7,4.54), (22.35,4.44,22.65,4.55), (27.93,4.44,28.23,4.5), (28.88,4.44,29.18,4.5), (12.78,4.47,13.15,4.59), (14.73,4.47,15.03,4.58), (15.69,4.47,15.99,4.57), (25.99,4.5,29.18,4.68), (25.99,4.68,26.35,4.8), (27.93,4.68,28.23,4.81), (28.88,4.68,29.18,4.81), (9.23,5.36,9.49,5.47), (8.24,5.37,8.5,5.47), (8.24,5.47,9.49,5.66), (14.22,5.59,14.52,5.72), (15.21,5.61,15.51,5.72), (8.24,5.66,8.5,5.77), (9.23,5.66,9.49,5.76), (20.9,5.71,21.2,5.79), (14.22,5.72,15.51,5.87), (21.87,5.72,22.17,5.79), (20.9,5.79,22.17,5.97), (14.22,5.87,14.52,5.96), (15.21,5.87,15.51,5.98), (20.9,5.97,21.2,6.08), (21.87,5.97,22.17,6.09), (27.45,5.99,27.75,6.08), (28.4,6,28.7,6.08), (27.45,6.08,28.7,6.28), (27.45,6.28,27.75,6.36), (28.4,6.28,28.7,6.37), (10.34,7.68,11.47,8.42), (16.88,7.72,17.52,8.35), (29.71,7.77,30.47,8.43), (23.39,7.88,24.01,8.42), (17,8.35,17.37,9.23), (10.68,8.42,11.21,9.53), (23.54,8.42,23.91,9.13), (29.9,8.43,30.24,9.28), (23.38,9.13,23.98,9.63), (16.89,9.23,17.49,9.73), (29.79,9.28,30.39,9.78), (10.46,9.53,11.44,10.28)])
dac.add(gdstk.Reference(sky130_fd_pr__nfet_01v8_, (1.645,-5.615)))
dac.add(gdstk.Reference(sky130_fd_pr__res_xhigh_, (-8.695,4.85)))
dac.add(gdstk.Reference(sky130_fd_pr__res_xhigh_, (-5.755,4.85)))
dac.add(gdstk.Reference(c_sky130_fd_pr__nfet_01v8_, (9.115,5.09)))
dac.add(gdstk.Reference(c_sky130_fd_pr__nfet_01v8_, (15.115,5.16)))
dac.add(gdstk.Reference(sky130_fd_pr__nfet_01v8_, (9.025,-5.755)))
dac.add(gdstk.Reference(c_sky130_fd_pr__nfet_01v8__, (15.365,-5.575)))
dac.add(gdstk.Reference(c_sky130_fd_pr__nfet_01v8_, (21.775,5.12)))
dac.add(gdstk.Reference(c_sky130_fd_pr__nfet_01v8_, (28.315,5.38)))
dac.add(gdstk.Reference(c_sky130_fd_pr__nfet_01v8___, (22.985,-6.135)))
dac.add(gdstk.Reference(c_sky130_fd_pr__nfet_01v8____, (34.785,-6.11)))
dac.add(gdstk.Reference(c_sky130_fd_pr__res_xhigh_, (37.625,8.865), rotation=pi/2))
dac.add(gdstk.Label('D3', (30.07,10.56), layer=68, texttype=5))
dac.add(gdstk.Label('D2', (23.59,10.36), layer=68, texttype=5))
dac.add(gdstk.Label('D0', (10.94,11.12), layer=68, texttype=5))
dac.add(gdstk.Label('D1', (17.17,10.72), layer=68, texttype=5))
dac.add(gdstk.Label('Vref', (-11.81,-4.21), layer=68, texttype=5))
dac.add(gdstk.Label('OUT', (32.56,9.68), layer=68, texttype=5))
dac.add(gdstk.Label('VDD', (45.245,8.875), layer=68, texttype=5))
dac.add(gdstk.Label('VSS', (14.28,-12.18), layer=68, texttype=5))

lib.write_gds('DAC.gds')
